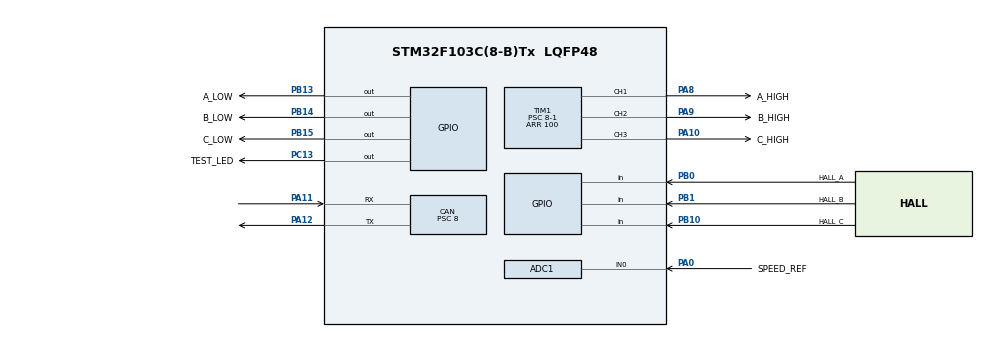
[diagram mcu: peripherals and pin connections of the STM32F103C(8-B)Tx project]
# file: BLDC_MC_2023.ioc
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ADC1.Channel-0\#ChannelRegularConversion=ADC_CHANNEL_0
ADC1.NbrOfConversionFlag=1
ADC1.Rank-0\#ChannelRegularConversion=1
ADC1.SamplingTime-0\#ChannelRegularConversion=ADC_SAMPLETIME_1CYCLE_5
ADC1.master=1
CAN.BS1=CAN_BS1_2TQ
CAN.CalculateBaudRate=250000
CAN.CalculateTimeBit=4000
CAN.CalculateTimeQuantum=1000.0
CAN.Prescaler=8
Mcu.Family=STM32F1
Mcu.Name=STM32F103C(8-B)Tx
Mcu.Package=LQFP48
NVIC.CAN1_RX1_IRQn=true\:0\:0\:false\:false\:true\:true\:true\:true
NVIC.PriorityGroup=NVIC_PRIORITYGROUP_4
NVIC.TIM2_IRQn=true\:0\:0\:false\:false\:true\:true\:true\:true
NVIC.TIM4_IRQn=true\:0\:0\:false\:false\:true\:true\:true\:true
NVIC.USB_LP_CAN1_RX0_IRQn=true\:0\:0\:false\:false\:true\:true\:true\:true
PA0-WKUP.GPIO_Label=SPEED_REF
PA0-WKUP.Signal=ADCx_IN0
PA10.GPIO_Label=C_HIGH
PA10.Signal=S_TIM1_CH3
PA11.Mode=CAN_Activate
PA11.Signal=CAN_RX
PA12.Mode=CAN_Activate
PA12.Signal=CAN_TX
PA13.Mode=Serial_Wire
PA13.Signal=SYS_JTMS-SWDIO
PA14.Mode=Serial_Wire
PA14.Signal=SYS_JTCK-SWCLK
PA8.GPIO_Label=A_HIGH
PA8.GPIO_Speed=GPIO_SPEED_FREQ_HIGH
PA8.Signal=S_TIM1_CH1
PA9.GPIO_Label=B_HIGH
PA9.GPIO_Speed=GPIO_SPEED_FREQ_HIGH
PA9.Signal=S_TIM1_CH2
PB0.GPIO_Label=HALL_A
PB0.GPIO_PuPd=GPIO_PULLUP
PB0.Signal=GPIO_Input
PB1.GPIO_Label=HALL_B
PB1.GPIO_PuPd=GPIO_PULLUP
PB1.Signal=GPIO_Input
PB10.GPIO_Label=HALL_C
PB10.GPIO_PuPd=GPIO_PULLUP
PB10.Signal=GPIO_Input
PB13.GPIO_Label=A_LOW
PB13.GPIO_PuPd=GPIO_PULLDOWN
PB13.GPIO_Speed=GPIO_SPEED_FREQ_HIGH
PB13.Signal=GPIO_Output
PB14.GPIO_Label=B_LOW
PB14.GPIO_PuPd=GPIO_PULLDOWN
PB14.GPIO_Speed=GPIO_SPEED_FREQ_HIGH
PB14.Signal=GPIO_Output
PB15.GPIO_Label=C_LOW
PB15.GPIO_PuPd=GPIO_PULLDOWN
PB15.GPIO_Speed=GPIO_SPEED_FREQ_HIGH
PB15.Signal=GPIO_Output
PC13-TAMPER-RTC.GPIO_Label=TEST_LED
PC13-TAMPER-RTC.GPIO_PuPd=GPIO_PULLUP
PC13-TAMPER-RTC.Signal=GPIO_Output
ProjectManager.HeapSize=0x200
ProjectManager.StackSize=0x400
ProjectManager.TargetToolchain=STM32CubeIDE
RCC.APB1Freq_Value=8000000
RCC.APB2Freq_Value=8000000
SH.ADCx_IN0.0=ADC1_IN0,IN0
SH.S_TIM1_CH1.0=TIM1_CH1,PWM Generation1 CH1
SH.S_TIM1_CH2.0=TIM1_CH2,PWM Generation2 CH2
SH.S_TIM1_CH3.0=TIM1_CH3,PWM Generation3 CH3
TIM1.Channel-PWM\ Generation1\ CH1=TIM_CHANNEL_1
TIM1.Channel-PWM\ Generation2\ CH2=TIM_CHANNEL_2
TIM1.Channel-PWM\ Generation3\ CH3=TIM_CHANNEL_3
TIM1.Period=100
TIM1.Prescaler=8-1
TIM2.AutoReloadPreload=TIM_AUTORELOAD_PRELOAD_DISABLE
TIM2.Period=400-1
TIM2.Prescaler=8-1
TIM3.Prescaler=8-1
TIM4.Period=100-1
TIM4.Prescaler=8000-1
VP_TIM1_VS_ClockSourceINT.Mode=Internal
VP_TIM2_VS_ClockSourceINT.Mode=Internal
VP_TIM3_VS_ClockSourceINT.Mode=Internal
VP_TIM4_VS_ClockSourceINT.Mode=Internal
board=custom

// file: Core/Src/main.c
/* USER CODE BEGIN Header */
/**
  ******************************************************************************
  * @file           : main.c
  * @brief          : Main program body
  ******************************************************************************
  * @attention
  *
  * Copyright (c) 2023 STMicroelectronics.
  * All rights reserved.
  *
  * This software is licensed under terms that can be found in the LICENSE file
  * in the root directory of this software component.
  * If no LICENSE file comes with this software, it is provided AS-IS.
  *
  ******************************************************************************
  */
/* USER CODE END Header */
#include "main.h"

/* USER CODE BEGIN Includes */
#include "PID.h"
/* USER CODE END Includes */

/* USER CODE BEGIN PD */

// Definiciones principales
#define POLE_PAIRS 23u
#define VOLTAJE 48u
#define STEP_ADC_RPM 10u
#define ESTIMATION_RATE 5u // solo puede ser divisor de 10 {1, 2, 5, 10}.

#define STEPS2RPM 60*ESTIMATION_RATE/POLE_PAIRS/6 // 60 segundos, 2 Hz, 23 pp, 6 pasos
#define RPM2KMH 1/10.44
#define SPEED_UNITS 0u		// 0 for RPM, 1 for KMH
#define TELEMETRY 0u		  // 0 for normal operation, 1 for telemetry
#define PID 0u				// 0 for normal operation, 1 for PID longitudinal control

#define LONGITUDINAL_CAN_ID 255u  // ID decimal para la trama del control longitudinal
#define MC_CAN_ID 259u            // ID decimal de este dispositivo (Motor Controller)
#define HMI_CAN_ID 1u             // ID decimal del display del volante
// Definiciones adicionales

#define COMMUTATION_DELAY_US 350u	// microsegundos para el delay

/* Controller parameters */
// Para ESTIMATION_RATE de 2u: kp = 0.2; ki = 0.8; kd=0.0 (delay 700u)
//						   5u: kp = 0.02; ki = 0.5; kd=0.0 (delay 700u)
#define PID_KP  0.1f// 0.05f //
#define PID_KI  0.6f// 0.5f // 0.15 0.01
#define PID_KD  0.0f //0.0

#define PID_TAU 0.02f

#define PID_LIM_MIN  0.0f
#define PID_LIM_MAX  100.0f

#define SAMPLE_TIME_S 0.1f

/* CAN data */

//Position of the respective data flags

#define GF 0u  	// General flag
#define PW 1u	// Power flag
#define EM 2u	// Emergency flag
#define SU 3u	// Speed unit		0 para RPM, 1 para KMH
#define CS0 4u	// Cruise Speed 0
#define CS1 5u	// Cruise Speed 1

/* USER CODE END PD */

ADC_HandleTypeDef hadc1;

CAN_HandleTypeDef hcan;

TIM_HandleTypeDef htim1;
TIM_HandleTypeDef htim2;
TIM_HandleTypeDef htim3;
TIM_HandleTypeDef htim4;

void SystemClock_Config(void);
static void MX_GPIO_Init(void);
static void MX_ADC1_Init(void);
static void MX_TIM1_Init(void);
static void MX_TIM2_Init(void);
static void MX_TIM3_Init(void);
static void MX_TIM4_Init(void);
static void MX_CAN_Init(void);

/* USER CODE BEGIN 0 */

// HEADERS DE FUNCIONES

// funciones principales
void get_adc(void);
void read_hall(void);
void bldc_move(void);
void bldc_move_back(void);

//funciones adicionales
void delay_us (uint16_t us);
void send_can_data(void);

// VARIABLES
uint8_t power = 0;
uint16_t raw_adc = 0;
uint16_t rate_adc = 0;

uint8_t hall_a = 0;
uint8_t hall_b = 0;
uint8_t hall_c = 0;

uint8_t direction = 0;		// 0 for forward, 1 for backward (ALTAS CORRIENTES EN Backward)
uint8_t bldc_prev_step = 0;
uint8_t bldc_step = 0;
uint16_t steps = 0;

float desired_speed_rpm = 0;
float current_speed_rpm = 0;
float error = 0; //difference between desired and measured speed
float integral = 0;
uint8_t duty_cycle = 0;

// timer flags
uint8_t timer2_flag = 0;
uint8_t timer4_flag = 0;
uint8_t timer4_counts = 0;
uint8_t estimation_flag = 0;

//CAN VARIABLES
uint8_t CAN_FLAG_REG;	// Register of flags for can
CAN_TxHeaderTypeDef TxHeader;
CAN_RxHeaderTypeDef RxHeader;
uint32_t TxMailbox;
uint32_t FreeMailbox; // Check the amount of mailboxes free
uint8_t TxData[8];
uint8_t RxData[8];

//PID
PIDController pid = { PID_KP, PID_KI, PID_KD, PID_TAU,
						PID_LIM_MIN, PID_LIM_MAX, SAMPLE_TIME_S };

/* USER CODE END 0 */

int main(void)
{

  /* MCU Configuration--------------------------------------------------------*/

  /* Reset of all peripherals, Initializes the Flash interface and the Systick. */

	HAL_Init();

  /* Configure the system clock */
  SystemClock_Config();

  /* Initialize all configured peripherals */
  MX_GPIO_Init();
  MX_ADC1_Init();
  MX_TIM1_Init();
  MX_TIM2_Init();
  MX_TIM3_Init();
  MX_TIM4_Init();
  MX_CAN_Init();
  /* USER CODE BEGIN 2 */

  // Inicializamos el PID
  PIDController_Init(&pid);

  // Inicializamos los timer timers
  HAL_TIM_Base_Start(&htim1);	// Timer de PWMs (10kH)
  HAL_TIM_Base_Start_IT(&htim2);	// Timer principal (2.5 kHz)
  HAL_TIM_Base_Start(&htim3);		// Timer para delay de microsegundos
  HAL_TIM_Base_Start_IT(&htim4);	// Timer para el control (10Hz)

  // Inicializamos los 3 canales de PWM
  HAL_TIM_PWM_Start(&htim1, TIM_CHANNEL_1);
  HAL_TIM_PWM_Start(&htim1, TIM_CHANNEL_2);
  HAL_TIM_PWM_Start(&htim1, TIM_CHANNEL_3);

  // Iniciamos con 0 de duty los 3 PWM HIGH de loS MOSFETS
  __HAL_TIM_SET_COMPARE(&htim1, TIM_CHANNEL_1, 0);
  __HAL_TIM_SET_COMPARE(&htim1, TIM_CHANNEL_2, 0);
  __HAL_TIM_SET_COMPARE(&htim1, TIM_CHANNEL_3, 0);

  // Inicializamos en low las salidas LOW de los MOSFETS
  HAL_GPIO_WritePin(A_LOW_GPIO_Port , A_LOW_Pin,  GPIO_PIN_RESET);
  HAL_GPIO_WritePin(B_LOW_GPIO_Port , B_LOW_Pin,  GPIO_PIN_RESET);
  HAL_GPIO_WritePin(C_LOW_GPIO_Port , C_LOW_Pin,  GPIO_PIN_RESET);

  //CAN
  HAL_CAN_Start(&hcan);
  //CAN FIFO activation
  HAL_CAN_ActivateNotification(&hcan, CAN_IT_RX_FIFO0_MSG_PENDING);

	//Configurando la transmision
  TxHeader.DLC = 8;  // Son 8 bytes de data
  TxHeader.ExtId = 0;
  TxHeader.IDE = CAN_ID_STD; //Identificador del mensaje
  TxHeader.RTR = CAN_RTR_DATA;
  TxHeader.StdId = MC_CAN_ID;  // Este es el ID que mandaremos al periferico (revisar defines)
  TxHeader.TransmitGlobalTime = DISABLE;

  // CAN_FLAG_REG Initialization
  CAN_FLAG_REG |=  (1<<GF);	// General Flag 1 (necessary)
  CAN_FLAG_REG = (CAN_FLAG_REG & (~(1 << SU))) | (SPEED_UNITS << SU); // speed unit setting a
  CAN_FLAG_REG &= ~(1<<EM); // No Emergency
  CAN_FLAG_REG &= ~(1<<PW); // Initial OFF
  CAN_FLAG_REG &= ~(1<<CS0); //
  CAN_FLAG_REG &= ~(1<<CS1); // Cruise speed

  TxData[0] = 0; 	//Speed component
  TxData[1] = 0;	//Speed component
  TxData[2] = 0;	//Duty Cycle
  TxData[3] = 0;	// ...
  TxData[4] = 0;	// ...
  TxData[5] = 0;	// ...
  TxData[6] = 0;	// ...
  TxData[7] = CAN_FLAG_REG;	//Flags byte  [0 0 0 0 0 0 0 1] [x x cs cs su em pw gf]

  // x: not defined
  // cs: cruice speed (0 to 3)
  // su: speed units (0 for RPM, 1 for km/h)
  // em: emergency ( 1 for alert)
  // pw: Power flag (0 off, 1 on)
  // gf: general flag (1 always)

  // Incializamos el led de testeo apagado
  HAL_GPIO_WritePin(TEST_LED_GPIO_Port , TEST_LED_Pin,  GPIO_PIN_SET);

  // Leemos los hall por primera vez
  read_hall();

  /* USER CODE END 2 */

  /* Infinite loop */
  /* USER CODE BEGIN WHILE */
  while (1)
  {

	  if (timer2_flag == 1){
      // Si se activa la telemetria la velocidad deseada llega a partir de la data CAN
		  if (!TELEMETRY) {
			  get_adc();
		  }

		  read_hall();

		  if (direction == 0){
			  bldc_move();
		  }
		  else {
			  bldc_move_back();
		  }

		  timer2_flag = 0;

	  }

	  if (timer4_flag == 1 && PID){
		  //CONTROL PID
			uint8_t u = 0;

		  PIDController_Update(&pid, desired_speed_rpm, current_speed_rpm);

		  // Protection
		  if(desired_speed_rpm<=20){
			  PIDController_Reset(&pid);
		  }

			integral = pid.integrator;

			u = pid.out;

			duty_cycle = u;

		  timer4_flag = 0;
	  }

	  if (estimation_flag){

		  // Estimamos y enviamos por CAN la velocidad
		  current_speed_rpm = steps*STEPS2RPM;
		  send_can_data();	// Enviamos la data por CAN
		  estimation_flag = 0;
		  steps = 0;
	  }

    /* USER CODE END WHILE */

  }
}

void SystemClock_Config(void)
{
  RCC_OscInitTypeDef RCC_OscInitStruct = {0};
  RCC_ClkInitTypeDef RCC_ClkInitStruct = {0};
  RCC_PeriphCLKInitTypeDef PeriphClkInit = {0};

  /** Initializes the RCC Oscillators according to the specified parameters
  * in the RCC_OscInitTypeDef structure.
  */
  RCC_OscInitStruct.OscillatorType = RCC_OSCILLATORTYPE_HSI;
  RCC_OscInitStruct.HSIState = RCC_HSI_ON;
  RCC_OscInitStruct.HSICalibrationValue = RCC_HSICALIBRATION_DEFAULT;
  RCC_OscInitStruct.PLL.PLLState = RCC_PLL_NONE;
  if (HAL_RCC_OscConfig(&RCC_OscInitStruct) != HAL_OK)
  {
    Error_Handler();
  }

  /** Initializes the CPU, AHB and APB buses clocks
  */
  RCC_ClkInitStruct.ClockType = RCC_CLOCKTYPE_HCLK|RCC_CLOCKTYPE_SYSCLK
                              |RCC_CLOCKTYPE_PCLK1|RCC_CLOCKTYPE_PCLK2;
  RCC_ClkInitStruct.SYSCLKSource = RCC_SYSCLKSOURCE_HSI;
  RCC_ClkInitStruct.AHBCLKDivider = RCC_SYSCLK_DIV1;
  RCC_ClkInitStruct.APB1CLKDivider = RCC_HCLK_DIV1;
  RCC_ClkInitStruct.APB2CLKDivider = RCC_HCLK_DIV1;

  if (HAL_RCC_ClockConfig(&RCC_ClkInitStruct, FLASH_LATENCY_0) != HAL_OK)
  {
    Error_Handler();
  }
  PeriphClkInit.PeriphClockSelection = RCC_PERIPHCLK_ADC;
  PeriphClkInit.AdcClockSelection = RCC_ADCPCLK2_DIV2;
  if (HAL_RCCEx_PeriphCLKConfig(&PeriphClkInit) != HAL_OK)
  {
    Error_Handler();
  }
}

static void MX_ADC1_Init(void)
{

  ADC_ChannelConfTypeDef sConfig = {0};

  /** Common config
  */
  hadc1.Instance = ADC1;
  hadc1.Init.ScanConvMode = ADC_SCAN_DISABLE;
  hadc1.Init.ContinuousConvMode = DISABLE;
  hadc1.Init.DiscontinuousConvMode = DISABLE;
  hadc1.Init.ExternalTrigConv = ADC_SOFTWARE_START;
  hadc1.Init.DataAlign = ADC_DATAALIGN_RIGHT;
  hadc1.Init.NbrOfConversion = 1;
  if (HAL_ADC_Init(&hadc1) != HAL_OK)
  {
    Error_Handler();
  }

  /** Configure Regular Channel
  */
  sConfig.Channel = ADC_CHANNEL_0;
  sConfig.Rank = ADC_REGULAR_RANK_1;
  sConfig.SamplingTime = ADC_SAMPLETIME_1CYCLE_5;
  if (HAL_ADC_ConfigChannel(&hadc1, &sConfig) != HAL_OK)
  {
    Error_Handler();
  }

}

static void MX_CAN_Init(void)
{

  hcan.Instance = CAN1;
  hcan.Init.Prescaler = 8;
  hcan.Init.Mode = CAN_MODE_NORMAL;
  hcan.Init.SyncJumpWidth = CAN_SJW_1TQ;
  hcan.Init.TimeSeg1 = CAN_BS1_2TQ;
  hcan.Init.TimeSeg2 = CAN_BS2_1TQ;
  hcan.Init.TimeTriggeredMode = DISABLE;
  hcan.Init.AutoBusOff = DISABLE;
  hcan.Init.AutoWakeUp = DISABLE;
  hcan.Init.AutoRetransmission = DISABLE;
  hcan.Init.ReceiveFifoLocked = DISABLE;
  hcan.Init.TransmitFifoPriority = DISABLE;
  if (HAL_CAN_Init(&hcan) != HAL_OK)
  {
    Error_Handler();
  }
  /* USER CODE BEGIN CAN_Init 2 */
  CAN_FilterTypeDef canfilterconfig;

  canfilterconfig.FilterActivation = CAN_FILTER_ENABLE;
  canfilterconfig.FilterBank = 10;  // anything between 0 to SlaveStartFilterBank
  canfilterconfig.FilterFIFOAssignment = CAN_RX_FIFO0;
  canfilterconfig.FilterIdHigh = 0x01<<5;
  canfilterconfig.FilterIdLow = 0;
  canfilterconfig.FilterMaskIdHigh = 0x01<<5;	// esto solo permite el id que tiene el bit 1 activo, osea id's impares
  canfilterconfig.FilterMaskIdLow = 0x0000;
  canfilterconfig.FilterMode = CAN_FILTERMODE_IDMASK;
  canfilterconfig.FilterScale = CAN_FILTERSCALE_32BIT;
  canfilterconfig.SlaveStartFilterBank = 0;  // 13 to 27 are assigned to slave CAN (CAN 2) OR 0 to 12 are assigned to CAN1

  HAL_CAN_ConfigFilter(&hcan, &canfilterconfig);
  /* USER CODE END CAN_Init 2 */

}

static void MX_TIM1_Init(void)
{

  TIM_ClockConfigTypeDef sClockSourceConfig = {0};
  TIM_MasterConfigTypeDef sMasterConfig = {0};
  TIM_OC_InitTypeDef sConfigOC = {0};
  TIM_BreakDeadTimeConfigTypeDef sBreakDeadTimeConfig = {0};

  htim1.Instance = TIM1;
  htim1.Init.Prescaler = 8-1;
  htim1.Init.CounterMode = TIM_COUNTERMODE_UP;
  htim1.Init.Period = 100;
  htim1.Init.ClockDivision = TIM_CLOCKDIVISION_DIV1;
  htim1.Init.RepetitionCounter = 0;
  htim1.Init.AutoReloadPreload = TIM_AUTORELOAD_PRELOAD_DISABLE;
  if (HAL_TIM_Base_Init(&htim1) != HAL_OK)
  {
    Error_Handler();
  }
  sClockSourceConfig.ClockSource = TIM_CLOCKSOURCE_INTERNAL;
  if (HAL_TIM_ConfigClockSource(&htim1, &sClockSourceConfig) != HAL_OK)
  {
    Error_Handler();
  }
  if (HAL_TIM_PWM_Init(&htim1) != HAL_OK)
  {
    Error_Handler();
  }
  sMasterConfig.MasterOutputTrigger = TIM_TRGO_RESET;
  sMasterConfig.MasterSlaveMode = TIM_MASTERSLAVEMODE_DISABLE;
  if (HAL_TIMEx_MasterConfigSynchronization(&htim1, &sMasterConfig) != HAL_OK)
  {
    Error_Handler();
  }
  sConfigOC.OCMode = TIM_OCMODE_PWM1;
  sConfigOC.Pulse = 0;
  sConfigOC.OCPolarity = TIM_OCPOLARITY_HIGH;
  sConfigOC.OCNPolarity = TIM_OCNPOLARITY_HIGH;
  sConfigOC.OCFastMode = TIM_OCFAST_DISABLE;
  sConfigOC.OCIdleState = TIM_OCIDLESTATE_RESET;
  sConfigOC.OCNIdleState = TIM_OCNIDLESTATE_RESET;
  if (HAL_TIM_PWM_ConfigChannel(&htim1, &sConfigOC, TIM_CHANNEL_1) != HAL_OK)
  {
    Error_Handler();
  }
  if (HAL_TIM_PWM_ConfigChannel(&htim1, &sConfigOC, TIM_CHANNEL_2) != HAL_OK)
  {
    Error_Handler();
  }
  if (HAL_TIM_PWM_ConfigChannel(&htim1, &sConfigOC, TIM_CHANNEL_3) != HAL_OK)
  {
    Error_Handler();
  }
  sBreakDeadTimeConfig.OffStateRunMode = TIM_OSSR_DISABLE;
  sBreakDeadTimeConfig.OffStateIDLEMode = TIM_OSSI_DISABLE;
  sBreakDeadTimeConfig.LockLevel = TIM_LOCKLEVEL_OFF;
  sBreakDeadTimeConfig.DeadTime = 0;
  sBreakDeadTimeConfig.BreakState = TIM_BREAK_DISABLE;
  sBreakDeadTimeConfig.BreakPolarity = TIM_BREAKPOLARITY_HIGH;
  sBreakDeadTimeConfig.AutomaticOutput = TIM_AUTOMATICOUTPUT_DISABLE;
  if (HAL_TIMEx_ConfigBreakDeadTime(&htim1, &sBreakDeadTimeConfig) != HAL_OK)
  {
    Error_Handler();
  }
  HAL_TIM_MspPostInit(&htim1);

}

static void MX_TIM2_Init(void)
{

  TIM_ClockConfigTypeDef sClockSourceConfig = {0};
  TIM_MasterConfigTypeDef sMasterConfig = {0};

  htim2.Instance = TIM2;
  htim2.Init.Prescaler = 8-1;
  htim2.Init.CounterMode = TIM_COUNTERMODE_UP;
  htim2.Init.Period = 400-1;
  htim2.Init.ClockDivision = TIM_CLOCKDIVISION_DIV1;
  htim2.Init.AutoReloadPreload = TIM_AUTORELOAD_PRELOAD_DISABLE;
  if (HAL_TIM_Base_Init(&htim2) != HAL_OK)
  {
    Error_Handler();
  }
  sClockSourceConfig.ClockSource = TIM_CLOCKSOURCE_INTERNAL;
  if (HAL_TIM_ConfigClockSource(&htim2, &sClockSourceConfig) != HAL_OK)
  {
    Error_Handler();
  }
  sMasterConfig.MasterOutputTrigger = TIM_TRGO_RESET;
  sMasterConfig.MasterSlaveMode = TIM_MASTERSLAVEMODE_DISABLE;
  if (HAL_TIMEx_MasterConfigSynchronization(&htim2, &sMasterConfig) != HAL_OK)
  {
    Error_Handler();
  }

}

static void MX_TIM3_Init(void)
{

  TIM_ClockConfigTypeDef sClockSourceConfig = {0};
  TIM_MasterConfigTypeDef sMasterConfig = {0};

  htim3.Instance = TIM3;
  htim3.Init.Prescaler = 8-1;
  htim3.Init.CounterMode = TIM_COUNTERMODE_UP;
  htim3.Init.Period = 65535;
  htim3.Init.ClockDivision = TIM_CLOCKDIVISION_DIV1;
  htim3.Init.AutoReloadPreload = TIM_AUTORELOAD_PRELOAD_DISABLE;
  if (HAL_TIM_Base_Init(&htim3) != HAL_OK)
  {
    Error_Handler();
  }
  sClockSourceConfig.ClockSource = TIM_CLOCKSOURCE_INTERNAL;
  if (HAL_TIM_ConfigClockSource(&htim3, &sClockSourceConfig) != HAL_OK)
  {
    Error_Handler();
  }
  sMasterConfig.MasterOutputTrigger = TIM_TRGO_RESET;
  sMasterConfig.MasterSlaveMode = TIM_MASTERSLAVEMODE_DISABLE;
  if (HAL_TIMEx_MasterConfigSynchronization(&htim3, &sMasterConfig) != HAL_OK)
  {
    Error_Handler();
  }

}

static void MX_TIM4_Init(void)
{

  TIM_ClockConfigTypeDef sClockSourceConfig = {0};
  TIM_MasterConfigTypeDef sMasterConfig = {0};

  htim4.Instance = TIM4;
  htim4.Init.Prescaler = 8000-1;
  htim4.Init.CounterMode = TIM_COUNTERMODE_UP;
  htim4.Init.Period = 100-1;
  htim4.Init.ClockDivision = TIM_CLOCKDIVISION_DIV1;
  htim4.Init.AutoReloadPreload = TIM_AUTORELOAD_PRELOAD_DISABLE;
  if (HAL_TIM_Base_Init(&htim4) != HAL_OK)
  {
    Error_Handler();
  }
  sClockSourceConfig.ClockSource = TIM_CLOCKSOURCE_INTERNAL;
  if (HAL_TIM_ConfigClockSource(&htim4, &sClockSourceConfig) != HAL_OK)
  {
    Error_Handler();
  }
  sMasterConfig.MasterOutputTrigger = TIM_TRGO_RESET;
  sMasterConfig.MasterSlaveMode = TIM_MASTERSLAVEMODE_DISABLE;
  if (HAL_TIMEx_MasterConfigSynchronization(&htim4, &sMasterConfig) != HAL_OK)
  {
    Error_Handler();
  }

}

static void MX_GPIO_Init(void)
{
  GPIO_InitTypeDef GPIO_InitStruct = {0};

  /* GPIO Ports Clock Enable */
  __HAL_RCC_GPIOC_CLK_ENABLE();
  __HAL_RCC_GPIOA_CLK_ENABLE();
  __HAL_RCC_GPIOB_CLK_ENABLE();

  /*Configure GPIO pin Output Level */
  HAL_GPIO_WritePin(TEST_LED_GPIO_Port, TEST_LED_Pin, GPIO_PIN_RESET);

  /*Configure GPIO pin Output Level */
  HAL_GPIO_WritePin(GPIOB, A_LOW_Pin|B_LOW_Pin|C_LOW_Pin, GPIO_PIN_RESET);

  /*Configure GPIO pin : TEST_LED_Pin */
  GPIO_InitStruct.Pin = TEST_LED_Pin;
  GPIO_InitStruct.Mode = GPIO_MODE_OUTPUT_PP;
  GPIO_InitStruct.Pull = GPIO_PULLUP;
  GPIO_InitStruct.Speed = GPIO_SPEED_FREQ_LOW;
  HAL_GPIO_Init(TEST_LED_GPIO_Port, &GPIO_InitStruct);

  /*Configure GPIO pins : HALL_A_Pin HALL_B_Pin HALL_C_Pin */
  GPIO_InitStruct.Pin = HALL_A_Pin|HALL_B_Pin|HALL_C_Pin;
  GPIO_InitStruct.Mode = GPIO_MODE_INPUT;
  GPIO_InitStruct.Pull = GPIO_PULLUP;
  HAL_GPIO_Init(GPIOB, &GPIO_InitStruct);

  /*Configure GPIO pins : A_LOW_Pin B_LOW_Pin C_LOW_Pin */
  GPIO_InitStruct.Pin = A_LOW_Pin|B_LOW_Pin|C_LOW_Pin;
  GPIO_InitStruct.Mode = GPIO_MODE_OUTPUT_PP;
  GPIO_InitStruct.Pull = GPIO_PULLDOWN;
  GPIO_InitStruct.Speed = GPIO_SPEED_FREQ_HIGH;
  HAL_GPIO_Init(GPIOB, &GPIO_InitStruct);

}

/* USER CODE BEGIN 4 */

//FUNCIONES

void get_adc(void){
	// Obtenemos la data del ADC
	HAL_ADC_Start(&hadc1);
	HAL_ADC_PollForConversion(&hadc1, HAL_MAX_DELAY);

	raw_adc = HAL_ADC_GetValue(&hadc1);

//	duty_cycle = raw_adc/41;	// Obtiene el valor de entre 0 a 100 para el duty
//
//	// Para que el sistema se suelte cuando el deseado sea menos del 10%
//	if (duty_cycle<10){
//		duty_cycle = 0;
//	}

	if (PID){
		rate_adc = STEP_ADC_RPM*48*12/VOLTAJE;
		raw_adc = rate_adc*(raw_adc/rate_adc);
		desired_speed_rpm = raw_adc*STEP_ADC_RPM/rate_adc;
	}
	else {
		duty_cycle = 100*raw_adc/4095;
	}
}

void read_hall(void){
	hall_a = HAL_GPIO_ReadPin(HALL_A_GPIO_Port,HALL_A_Pin);
	hall_b = HAL_GPIO_ReadPin(HALL_B_GPIO_Port,HALL_B_Pin);
	hall_c = HAL_GPIO_ReadPin(HALL_C_GPIO_Port,HALL_C_Pin);

	bldc_step = hall_a + 2*hall_b + 4*hall_c;

	// Para calcular velocidad
	if (bldc_step != bldc_prev_step){
		steps += 1;
	}

	bldc_prev_step	= bldc_step;

}

void bldc_move(void){

	switch(bldc_step){
	case 1:
		__HAL_TIM_SET_COMPARE(&htim1, TIM_CHANNEL_2, 0);	//B_HIGH
		__HAL_TIM_SET_COMPARE(&htim1, TIM_CHANNEL_3, 0);	//C_HIGH
		HAL_GPIO_WritePin(A_LOW_GPIO_Port , A_LOW_Pin,  GPIO_PIN_RESET);
		HAL_GPIO_WritePin(B_LOW_GPIO_Port , B_LOW_Pin,  GPIO_PIN_RESET);

		// Delay
		delay_us(COMMUTATION_DELAY_US);

		__HAL_TIM_SET_COMPARE(&htim1, TIM_CHANNEL_1, duty_cycle);	//A_HIGH
		HAL_GPIO_WritePin(C_LOW_GPIO_Port , C_LOW_Pin,  GPIO_PIN_SET);
		break;
	case 2:
		__HAL_TIM_SET_COMPARE(&htim1, TIM_CHANNEL_1, 0);	//A_HIGH
		__HAL_TIM_SET_COMPARE(&htim1, TIM_CHANNEL_3, 0);	//C_HIGH
		HAL_GPIO_WritePin(B_LOW_GPIO_Port , B_LOW_Pin,  GPIO_PIN_RESET);
		HAL_GPIO_WritePin(C_LOW_GPIO_Port , C_LOW_Pin,  GPIO_PIN_RESET);

		// Delay
		delay_us(COMMUTATION_DELAY_US);

		__HAL_TIM_SET_COMPARE(&htim1, TIM_CHANNEL_2, duty_cycle);	//B_HIGH
		HAL_GPIO_WritePin(A_LOW_GPIO_Port , A_LOW_Pin,  GPIO_PIN_SET);

		break;
	case 3:
		__HAL_TIM_SET_COMPARE(&htim1, TIM_CHANNEL_1, 0);	//A_HIGH

		__HAL_TIM_SET_COMPARE(&htim1, TIM_CHANNEL_3, 0);	//C_HIGH

		HAL_GPIO_WritePin(A_LOW_GPIO_Port , A_LOW_Pin,  GPIO_PIN_RESET);
		HAL_GPIO_WritePin(B_LOW_GPIO_Port , B_LOW_Pin,  GPIO_PIN_RESET);

		// Delay
		delay_us(COMMUTATION_DELAY_US);

		__HAL_TIM_SET_COMPARE(&htim1, TIM_CHANNEL_2, duty_cycle);	//B_HIGH
		HAL_GPIO_WritePin(C_LOW_GPIO_Port , C_LOW_Pin,  GPIO_PIN_SET);

		break;
	case 4:
		__HAL_TIM_SET_COMPARE(&htim1, TIM_CHANNEL_1, 0);	//A_HIGH
		__HAL_TIM_SET_COMPARE(&htim1, TIM_CHANNEL_2, 0);	//B_HIGH
		HAL_GPIO_WritePin(A_LOW_GPIO_Port , A_LOW_Pin,  GPIO_PIN_RESET);
		HAL_GPIO_WritePin(C_LOW_GPIO_Port , C_LOW_Pin,  GPIO_PIN_RESET);

		// Delay
		delay_us(COMMUTATION_DELAY_US);

		__HAL_TIM_SET_COMPARE(&htim1, TIM_CHANNEL_3, duty_cycle);	//C_HIGH
		HAL_GPIO_WritePin(B_LOW_GPIO_Port , B_LOW_Pin,  GPIO_PIN_SET);

		break;

	case 5:

		__HAL_TIM_SET_COMPARE(&htim1, TIM_CHANNEL_2, 0);	//B_HIGH
		__HAL_TIM_SET_COMPARE(&htim1, TIM_CHANNEL_3, 0);	//C_HIGH

		HAL_GPIO_WritePin(A_LOW_GPIO_Port , A_LOW_Pin,  GPIO_PIN_RESET);

		HAL_GPIO_WritePin(C_LOW_GPIO_Port , C_LOW_Pin,  GPIO_PIN_RESET);

		// Delay
		delay_us(COMMUTATION_DELAY_US);

		__HAL_TIM_SET_COMPARE(&htim1, TIM_CHANNEL_1, duty_cycle);	//A_HIGH
		HAL_GPIO_WritePin(B_LOW_GPIO_Port , B_LOW_Pin,  GPIO_PIN_SET);
		break;

	case 6:
		__HAL_TIM_SET_COMPARE(&htim1, TIM_CHANNEL_1, 0);	//A_HIGH
		__HAL_TIM_SET_COMPARE(&htim1, TIM_CHANNEL_2, 0);	//B_HIGH

		HAL_GPIO_WritePin(B_LOW_GPIO_Port , B_LOW_Pin,  GPIO_PIN_RESET);
		HAL_GPIO_WritePin(C_LOW_GPIO_Port , C_LOW_Pin,  GPIO_PIN_RESET);

		// Delay
		delay_us(COMMUTATION_DELAY_US);

		__HAL_TIM_SET_COMPARE(&htim1, TIM_CHANNEL_3, duty_cycle);	//C_HIGH
		HAL_GPIO_WritePin(A_LOW_GPIO_Port , A_LOW_Pin,  GPIO_PIN_SET);

		break;

	default:
		__HAL_TIM_SET_COMPARE(&htim1, TIM_CHANNEL_1, 0);	//A_HIGH
		__HAL_TIM_SET_COMPARE(&htim1, TIM_CHANNEL_2, 0);	//B_HIGH
		__HAL_TIM_SET_COMPARE(&htim1, TIM_CHANNEL_3, 0);	//C_HIGH

		HAL_GPIO_WritePin(A_LOW_GPIO_Port , A_LOW_Pin,  GPIO_PIN_RESET);
		HAL_GPIO_WritePin(B_LOW_GPIO_Port , B_LOW_Pin,  GPIO_PIN_RESET);
		HAL_GPIO_WritePin(C_LOW_GPIO_Port , C_LOW_Pin,  GPIO_PIN_RESET);
		break;
	}
}

void bldc_move_back(void){

	switch(bldc_step){
	case 6:
		__HAL_TIM_SET_COMPARE(&htim1, TIM_CHANNEL_2, 0);	//B_HIGH
		__HAL_TIM_SET_COMPARE(&htim1, TIM_CHANNEL_3, 0);	//C_HIGH
		HAL_GPIO_WritePin(A_LOW_GPIO_Port , A_LOW_Pin,  GPIO_PIN_RESET);
		HAL_GPIO_WritePin(B_LOW_GPIO_Port , B_LOW_Pin,  GPIO_PIN_RESET);

		// Delay
		delay_us(COMMUTATION_DELAY_US);

		__HAL_TIM_SET_COMPARE(&htim1, TIM_CHANNEL_1, duty_cycle);	//A_HIGH
		HAL_GPIO_WritePin(C_LOW_GPIO_Port , C_LOW_Pin,  GPIO_PIN_SET);
		break;
	case 5:
		__HAL_TIM_SET_COMPARE(&htim1, TIM_CHANNEL_1, 0);	//A_HIGH
		__HAL_TIM_SET_COMPARE(&htim1, TIM_CHANNEL_3, 0);	//C_HIGH
		HAL_GPIO_WritePin(B_LOW_GPIO_Port , B_LOW_Pin,  GPIO_PIN_RESET);
		HAL_GPIO_WritePin(C_LOW_GPIO_Port , C_LOW_Pin,  GPIO_PIN_RESET);

		// Delay
		delay_us(COMMUTATION_DELAY_US);

		__HAL_TIM_SET_COMPARE(&htim1, TIM_CHANNEL_2, duty_cycle);	//B_HIGH
		HAL_GPIO_WritePin(A_LOW_GPIO_Port , A_LOW_Pin,  GPIO_PIN_SET);

		break;
	case 4:
		__HAL_TIM_SET_COMPARE(&htim1, TIM_CHANNEL_1, 0);	//A_HIGH

		__HAL_TIM_SET_COMPARE(&htim1, TIM_CHANNEL_3, 0);	//C_HIGH

		HAL_GPIO_WritePin(A_LOW_GPIO_Port , A_LOW_Pin,  GPIO_PIN_RESET);
		HAL_GPIO_WritePin(B_LOW_GPIO_Port , B_LOW_Pin,  GPIO_PIN_RESET);

		// Delay
		delay_us(COMMUTATION_DELAY_US);

		__HAL_TIM_SET_COMPARE(&htim1, TIM_CHANNEL_2, duty_cycle);	//B_HIGH
		HAL_GPIO_WritePin(C_LOW_GPIO_Port , C_LOW_Pin,  GPIO_PIN_SET);

		break;
	case 3:
		__HAL_TIM_SET_COMPARE(&htim1, TIM_CHANNEL_1, 0);	//A_HIGH
		__HAL_TIM_SET_COMPARE(&htim1, TIM_CHANNEL_2, 0);	//B_HIGH
		HAL_GPIO_WritePin(A_LOW_GPIO_Port , A_LOW_Pin,  GPIO_PIN_RESET);
		HAL_GPIO_WritePin(C_LOW_GPIO_Port , C_LOW_Pin,  GPIO_PIN_RESET);

		// Delay
		delay_us(COMMUTATION_DELAY_US);

		__HAL_TIM_SET_COMPARE(&htim1, TIM_CHANNEL_3, duty_cycle);	//C_HIGH
		HAL_GPIO_WritePin(B_LOW_GPIO_Port , B_LOW_Pin,  GPIO_PIN_SET);

		break;

	case 2:

		__HAL_TIM_SET_COMPARE(&htim1, TIM_CHANNEL_2, 0);	//B_HIGH
		__HAL_TIM_SET_COMPARE(&htim1, TIM_CHANNEL_3, 0);	//C_HIGH

		HAL_GPIO_WritePin(A_LOW_GPIO_Port , A_LOW_Pin,  GPIO_PIN_RESET);

		HAL_GPIO_WritePin(C_LOW_GPIO_Port , C_LOW_Pin,  GPIO_PIN_RESET);

		// Delay
		delay_us(COMMUTATION_DELAY_US);

		__HAL_TIM_SET_COMPARE(&htim1, TIM_CHANNEL_1, duty_cycle);	//A_HIGH
		HAL_GPIO_WritePin(B_LOW_GPIO_Port , B_LOW_Pin,  GPIO_PIN_SET);
		break;

	case 1:
		__HAL_TIM_SET_COMPARE(&htim1, TIM_CHANNEL_1, 0);	//A_HIGH
		__HAL_TIM_SET_COMPARE(&htim1, TIM_CHANNEL_2, 0);	//B_HIGH

		HAL_GPIO_WritePin(B_LOW_GPIO_Port , B_LOW_Pin,  GPIO_PIN_RESET);
		HAL_GPIO_WritePin(C_LOW_GPIO_Port , C_LOW_Pin,  GPIO_PIN_RESET);

		// Delay
		delay_us(COMMUTATION_DELAY_US);

		__HAL_TIM_SET_COMPARE(&htim1, TIM_CHANNEL_3, duty_cycle);	//C_HIGH
		HAL_GPIO_WritePin(A_LOW_GPIO_Port , A_LOW_Pin,  GPIO_PIN_SET);

		break;

	default:
		__HAL_TIM_SET_COMPARE(&htim1, TIM_CHANNEL_1, 0);	//A_HIGH
		__HAL_TIM_SET_COMPARE(&htim1, TIM_CHANNEL_2, 0);	//B_HIGH
		__HAL_TIM_SET_COMPARE(&htim1, TIM_CHANNEL_3, 0);	//C_HIGH

		HAL_GPIO_WritePin(A_LOW_GPIO_Port , A_LOW_Pin,  GPIO_PIN_RESET);
		HAL_GPIO_WritePin(B_LOW_GPIO_Port , B_LOW_Pin,  GPIO_PIN_RESET);
		HAL_GPIO_WritePin(C_LOW_GPIO_Port , C_LOW_Pin,  GPIO_PIN_RESET);
		break;
	}
}

void delay_us(uint16_t us){
	__HAL_TIM_SET_COUNTER(&htim3,0);  // set the counter value a 0
	while (__HAL_TIM_GET_COUNTER(&htim3) < us);  // wait for the counter to reach the us input in the parameter
}

void send_can_data(void){

	if (SPEED_UNITS == 0){
		// Current speed (RPM)
		if (current_speed_rpm > 255){
				TxData[0] = 255;
				TxData[1] = current_speed_rpm - 255;
		}
		else{
			TxData[0] = current_speed_rpm;
			TxData[1] = 0;
		}
		// Desired speed (RPM)
		if (desired_speed_rpm > 255){
				TxData[3] = 255;
				TxData[4] = desired_speed_rpm - 255;
		}
		else{
			TxData[3] = desired_speed_rpm;
			TxData[4] = 0;
		}
	}
	else{
		// KMPH
		TxData[0] = current_speed_rpm*RPM2KMH;
		TxData[1] = 0;

	}

	// Alojamos el duty cycle
	TxData[2] = duty_cycle;

	//Enviamos el estado ON OFF del sistema
	CAN_FLAG_REG = (CAN_FLAG_REG & (~(1 << PW))) | (power << PW); // Sending the ON (1) or OFF (0)

	TxData[7] = CAN_FLAG_REG;	// Actualizamos con los flag

	HAL_CAN_AddTxMessage(&hcan, &TxHeader, TxData, &TxMailbox);

}

//INTERRUPCIONES

void HAL_TIM_PeriodElapsedCallback(TIM_HandleTypeDef *htim){

	if (htim == &htim2){

		timer2_flag = 1;

	}
	if (htim == &htim4){

		timer4_flag = 1;

		if (timer4_counts == 10/ESTIMATION_RATE){
			estimation_flag = 1;

			timer4_counts = 0;
		}
		timer4_counts += 1;
	}
}

void HAL_CAN_RxFifo0MsgPendingCallback(CAN_HandleTypeDef *hcan){
	HAL_CAN_GetRxMessage(hcan, CAN_RX_FIFO0, &RxHeader, RxData);

  // Si es que se tiene activada la telemetria y el ID es del axotec
  if (TELEMETRY && RxHeader.StdId == AXOTEC_ID){
	  desired_speed_rpm = RxData[0] + RxData[1];
  }

  // Para la data que llega del HMI
	if (RxData[0] == 96 && RxData[1] == 234){ // HMI Page 60000

		if (RxData[4] == 1){ //HMI button 1
			power = 1;
		}
		if (RxData[4] == 2){ //HMI button 2
			power = 0;
		}

		if (RxData[5] == 16){ //HMI down button
			//TxData[4] = 0;		//Change button color
			CAN_FLAG_REG &= ~(1 << CS1);
			CAN_FLAG_REG &= ~(1 << CS0); //Cruise speed 0

		}
		if (RxData[5] == 8){ //HMI left button
			//TxData[4] = 1; 		//Change button color
			CAN_FLAG_REG &= ~(1 << CS1);
			CAN_FLAG_REG |=  (1 << CS0); //Cruise speed 1

		}
		if (RxData[5] == 32){ //HMI right button
			//TxData[4] = 2;		//Change button color
			CAN_FLAG_REG |=  (1 << CS1);
			CAN_FLAG_REG &= ~(1 << CS0); //Cruise speed 2

		}
		if (RxData[5] == 2){ //HMI up button
			//TxData[4] = 3;		//Change button color
			CAN_FLAG_REG |=  (1 << CS1);
			CAN_FLAG_REG |=  (1 << CS0); //Cruise speed 3

		}

	}
}

/* USER CODE END 4 */

void Error_Handler(void)
{
  __disable_irq();
  while (1)
  {
  }
}
